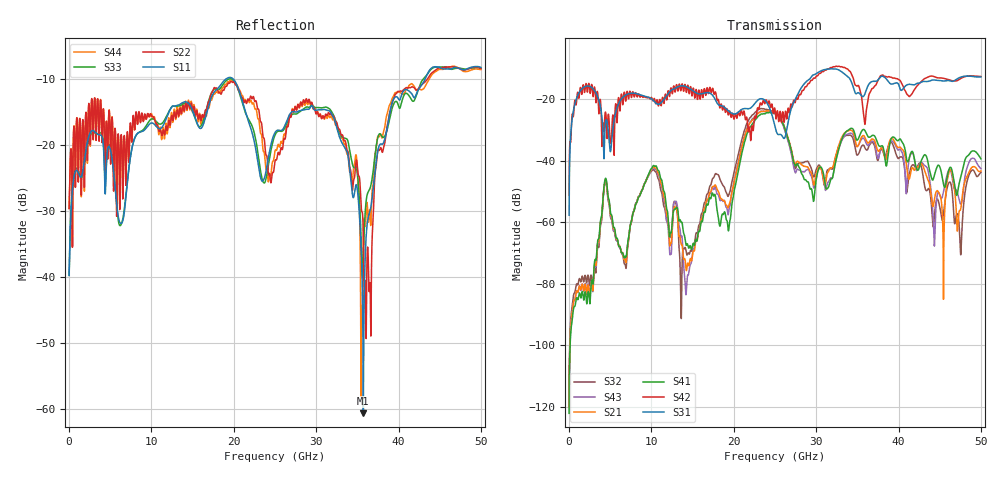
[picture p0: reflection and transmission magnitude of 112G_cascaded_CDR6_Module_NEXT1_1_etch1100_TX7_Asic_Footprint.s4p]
! Created Tue Feb 26 22:48:54 2019
# hz S ma R 50
! 4 Port Network Data from SP1.SP block
! freq  magS11  angS11  magS12  angS12  magS13  angS13  magS14  angS14
!  magS21  angS21  magS22  angS22  magS23  angS23  magS24  angS24
!  magS31  angS31  magS32  angS32  magS33  angS33  magS34  angS34
!  magS41  angS41  magS42  angS42  magS43  angS43  magS44  angS44
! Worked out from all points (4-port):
!   5000 points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, 10 MHz to 50 GHz, reference 50 ohm
!   strongest paths, dB at 10 MHz, 12.51 GHz, 25.01 GHz, 37.51 GHz, 50 GHz:
!     S31: -57.7, -16.9, -29.0, -13.8, -12.8
!     S42: -51.3, -18.1, -23.5, -13.9, -12.7
!     S41: -122.1, -60.8, -24.6, -34.6, -39.4
!     S21: -119.9, -63.3, -24.3, -36.8, -43.4
!     S43: -119.9, -64.0, -24.7, -39.2, -42.6
!     S32: -117.6, -62.6, -24.3, -39.9, -43.8
!   lowest |S11| = -60.7 dB at 35.73 GHz (marker M1), VSWR 1.00, Z = 50 + j0.0918 ohm
!   |S11| at or under -10 dB: start of sweep to 19 GHz; 19.98 GHz to 43.21 GHz (23.24 GHz wide, 73.6 % of centre)
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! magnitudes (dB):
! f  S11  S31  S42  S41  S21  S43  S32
! 10 MHz  -39.7  -57.7  -51.3  -122.1  -119.9  -119.9  -117.6
! 1.94 GHz  -21.6  -16.0  -16.9  -82.7  -80.1  -79.9  -77.3
! 4.41 GHz  -27.3  -28.0  -24.2  -45.8  -46.2  -46.4  -46.7
! 14.26 GHz  -13.4  -16.0  -17.8  -67.4  -75.7  -81.7  -70.3
! 19.59 GHz  -9.7  -24.3  -24.9  -58.8  -53.0  -54.0  -49.5
! 35.73 GHz  -60.7  -19.2  -24.4  -29.9  -31.8  -32.7  -35.0
! 50 GHz  -8.2  -12.8  -12.7  -39.4  -43.4  -42.6  -43.8
